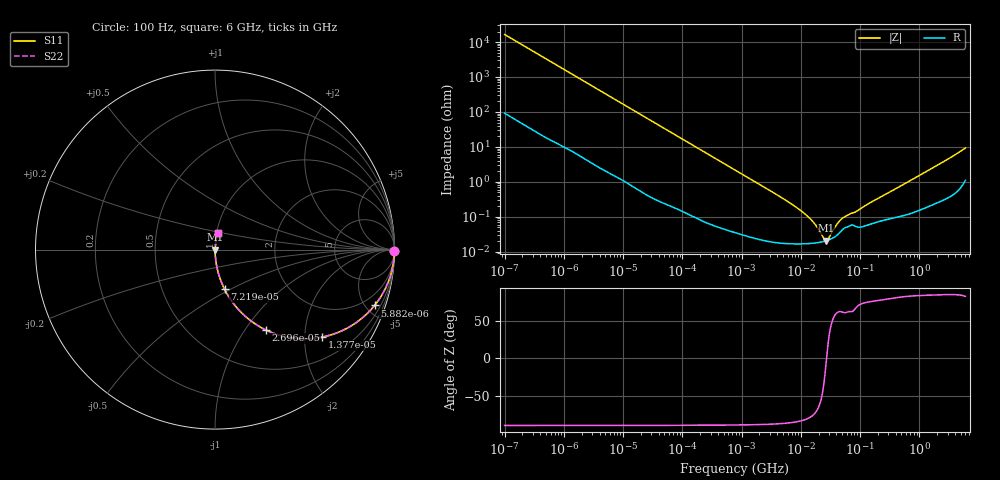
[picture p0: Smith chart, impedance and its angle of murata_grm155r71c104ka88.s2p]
!Murata Part Number: GRM155R71C104KA88
!These Parameters are Measured in Series Mode Connection
!  o--ll--o
!Port1  Port2
!  o------o
!Operation Temp=25[degC], DC Bias Voltage=0[V]
!Freq. Start=100[Hz] Stop=6[GHz], 401[Steps]
!Data Generated on Feb 4, 2025
# Hz S RI R 50
!Freq.(Hz) S11(Real) S11(Imag) S21(Real) S21(Imag) S12(Real) S12(Imag) S22(Real) S22(Imag)
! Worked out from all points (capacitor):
!   401 points, 100 Hz to 6 GHz, reference 50 ohm
!   read as one part in series: C = 96.3 nF near 109.4 Hz
!   lowest |Z| = 20.7 mohm at 26.62 MHz (marker M1)
!   series resonance near 27.16 MHz, so ESL is about 360 pH
!   S11 on the Smith chart (normalised r, x): 100 Hz: open; 5.882 kHz: 1.04, -5.70; 13.77 kHz: 1.02, -2.44; 26.96 kHz: 1.01, -1.25; 72.19 kHz: 1.00, -0.47; 6 GHz: 1.02, +0.19
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100  0.9999 -0.00606  7.07e-05 0.00606  7.07e-05 0.00606  0.9999 -0.00606
626.9898  0.9984 -0.0377  0.00164 0.0377  0.00164 0.0377  0.9984 -0.0377
2008.354  0.985 -0.1185  0.015 0.1185  0.015 0.1185  0.985 -0.1185
5882.059  0.8887 -0.3114  0.1113 0.3114  0.1113 0.3114  0.8887 -0.3114
8801.117  0.7827 -0.4092  0.2173 0.4092  0.2173 0.4092  0.7827 -0.4092
13771.83  0.5978 -0.4871  0.4022 0.4871  0.4022 0.4871  0.5978 -0.4871
26957.04  0.2822 -0.447  0.7178 0.447  0.7178 0.447  0.2822 -0.447
40334.87  0.1506 -0.3543  0.8494 0.3543  0.8494 0.3543  0.1506 -0.3543
72188.93  0.0536 -0.2213  0.9464 0.2213  0.9464 0.2213  0.0536 -0.2213
193316.5  0.00849 -0.0871  0.9915 0.0871  0.9915 0.0871  0.00849 -0.0871
774596.7  0.00084 -0.0221  0.9992 0.0221  0.9992 0.0221  0.00084 -0.0221
6644369  0.000175 -0.00245  0.9998 0.00245  0.9998 0.00245  0.000175 -0.00245
1.087309e7  0.000171 -0.00134  0.9998 0.00134  0.9998 0.00134  0.000171 -0.00134
1.555665e7  0.000176 -0.000749  0.9998 0.000749  0.9998 0.000749  0.000176 -0.000749
1.86079e7  0.000181 -0.000495  0.9998 0.000495  0.9998 0.000495  0.000181 -0.000495
2.434276e7  0.000197 -0.000141  0.9998 0.000141  0.9998 0.000141  0.000197 -0.000141
2.662321e7  0.000206 -2.54e-05  0.9998 2.54e-05  0.9998 2.54e-05  0.000206 -2.54e-05
2.911731e7  0.000216 8.98e-05  0.9998 -8.98e-05  0.9998 -8.98e-05  0.000216 8.98e-05
3.983537e7  0.000288 0.000508  0.9997 -0.000508  0.9997 -0.000508  0.000288 0.000508
5.211241e7  0.000452 0.000837  0.9995 -0.000837  0.9995 -0.000837  0.000452 0.000837
3.124326e8  0.000895 0.00497  0.9991 -0.00497  0.9991 -0.00497  0.000895 0.00497
6e9  0.0193 0.0901  0.9807 -0.0901  0.9807 -0.0901  0.0193 0.0901
